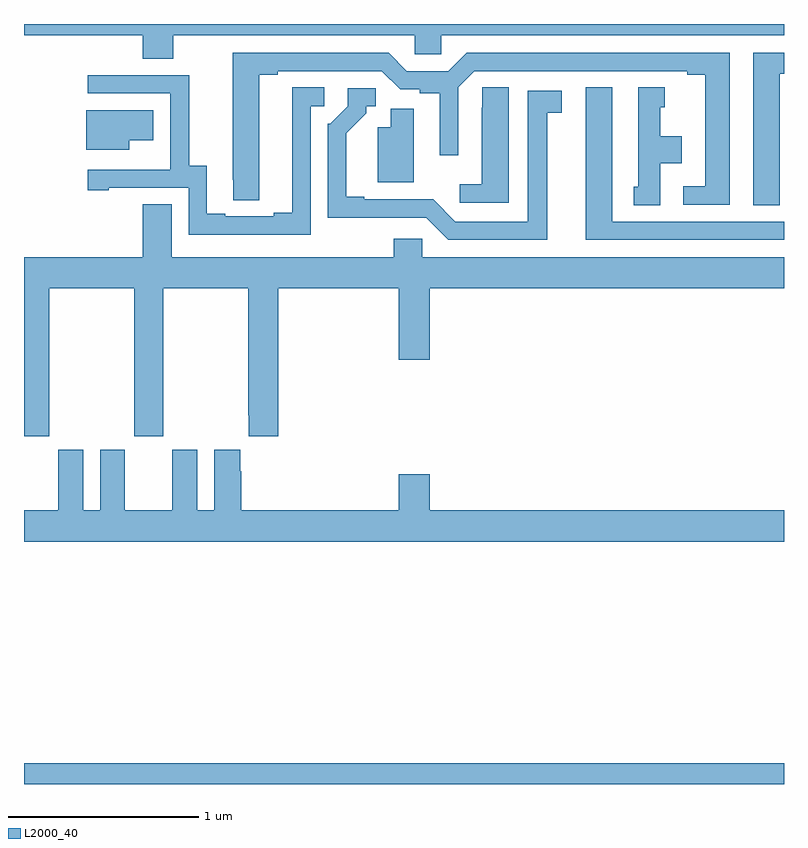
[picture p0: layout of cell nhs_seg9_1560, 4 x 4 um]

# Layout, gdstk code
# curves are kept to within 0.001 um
import gdstk
lib = gdstk.Library(unit=1e-6, precision=1e-09)
def R(c, l, rs):  # rectangles x0, y0, x1, y1
    for r in rs: c.add(gdstk.rectangle(r[:2], r[2:], *l))
def P(c, l, *ps):  # polygons
    for p in ps: c.add(gdstk.Polygon(p, *l))
L2000_40 = (2000, 40)

nhs_seg9_1560 = lib.new_cell('nhs_seg9_1560')
R(nhs_seg9_1560, L2000_40, [(199,1172.5,203,1172.608)])
P(nhs_seg9_1560, L2000_40, [(199,1176.44),(199.625,1176.44),(199.625,1176.316),(199.785,1176.316),(199.785,1176.44),(201.057,1176.44),(201.057,1176.342),(201.195,1176.342),(201.195,1176.44),(203,1176.44),(203,1176.5),(199,1176.5)],
  [(202.714,1176.348),(201.329,1176.348),(201.233,1176.252),(201.015,1176.252),(200.919,1176.348),(200.099,1176.348),(200.1,1175.572),(200.239,1175.572),(200.239,1176.232),(200.335,1176.232),(200.335,1176.252),(200.883,1176.252),(200.979,1176.156),(201.084,1176.156),(201.084,1176.136),(201.188,1176.136),(201.188,1175.808),(201.285,1175.808),(201.285,1176.168),(201.369,1176.252),(202.49,1176.252),(202.49,1176.232),(202.586,1176.232),(202.586,1175.646),(202.47,1175.646),(202.47,1175.55),(202.714,1175.55)],
  [(202.978,1176.237),(203,1176.237),(203,1176.348),(202.838,1176.348),(202.838,1175.545),(202.978,1175.545)],
  [(200.508,1176.066),(200.581,1176.066),(200.581,1176.167),(200.411,1176.167),(200.411,1175.507),(200.315,1175.507),(200.315,1175.487),(200.059,1175.487),(200.059,1175.502),(199.963,1175.502),(199.963,1175.753),(199.869,1175.753),(199.869,1176.231),(199.335,1176.231),(199.335,1176.135),(199.77,1176.135),(199.77,1175.734),(199.769,1175.734),(199.769,1175.733),(199.335,1175.733),(199.335,1175.625),(199.447,1175.625),(199.447,1175.637),(199.866,1175.637),(199.866,1175.391),(200.508,1175.391)],
  [(201.55,1176.167),(201.411,1176.167),(201.411,1176.059),(201.41,1176.059),(201.41,1175.656),(201.294,1175.656),(201.294,1175.559),(201.55,1175.559)],
  [(203,1175.46),(202.096,1175.46),(202.096,1176.166),(201.956,1176.166),(201.956,1175.364),(203,1175.364)],
  [(202.348,1175.768),(202.462,1175.768),(202.462,1175.908),(202.348,1175.908),(202.348,1176.063),(202.372,1176.063),(202.372,1176.166),(202.232,1176.166),(202.232,1175.643),(202.208,1175.643),(202.208,1175.545),(202.348,1175.545)],
  [(201.754,1176.034),(201.829,1176.034),(201.829,1176.15),(201.65,1176.15),(201.65,1175.46),(201.27,1175.46),(201.153,1175.577),(200.791,1175.577),(200.791,1175.59),(200.695,1175.59),(200.695,1175.926),(200.8,1176.031),(200.8,1176.066),(200.85,1176.066),(200.85,1176.162),(200.703,1176.162),(200.703,1176.066),(200.613,1175.976),(200.598,1175.976),(200.598,1175.48),(201.117,1175.481),(201.234,1175.364),(201.754,1175.364)],
  [(201.052,1176.054),(200.93,1176.054),(200.93,1175.956),(200.861,1175.956),(200.861,1175.666),(201.052,1175.666)],
  [(199.555,1175.888),(199.681,1175.888),(199.681,1176.046),(199.328,1176.046),(199.328,1175.837),(199.555,1175.837)],
  [(199.134,1175.108),(199.579,1175.108),(199.579,1174.329),(199.734,1174.329),(199.734,1175.108),(200.179,1175.108),(200.179,1174.441),(200.183,1174.441),(200.183,1174.329),(200.339,1174.329),(200.339,1175.108),(200.972,1175.108),(200.972,1174.734),(201.136,1174.734),(201.136,1175.108),(203,1175.108),(203,1175.272),(201.096,1175.272),(201.096,1175.37),(200.945,1175.37),(200.945,1175.272),(199.777,1175.272),(199.777,1175.552),(199.625,1175.552),(199.625,1175.272),(199,1175.272),(199,1174.329),(199.134,1174.329)],
  [(203,1173.94),(201.136,1173.94),(201.136,1174.129),(200.972,1174.129),(200.972,1173.94),(200.144,1173.94),(200.144,1174.145),(200.137,1174.145),(200.137,1174.258),(200,1174.258),(200,1173.94),(199.912,1173.94),(199.912,1174.258),(199.781,1174.258),(199.781,1173.94),(199.531,1173.94),(199.531,1174.258),(199.4,1174.258),(199.4,1173.94),(199.312,1173.94),(199.312,1174.258),(199.181,1174.258),(199.181,1173.94),(199,1173.94),(199,1173.776),(203,1173.776)])

lib.write_gds('nhs_seg9_1560.gds')
